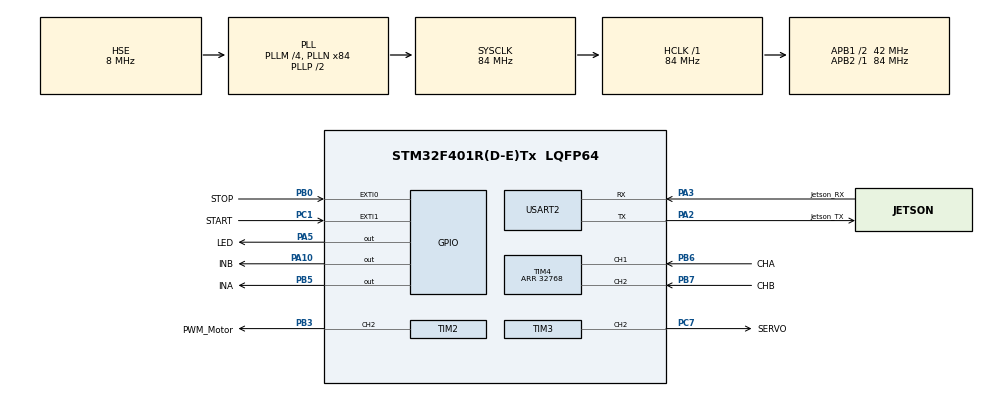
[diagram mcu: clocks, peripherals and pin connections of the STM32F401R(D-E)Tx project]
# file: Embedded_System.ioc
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Dma.Request0=USART2_RX
Dma.USART2_RX.0.Direction=DMA_PERIPH_TO_MEMORY
Dma.USART2_RX.0.FIFOMode=DMA_FIFOMODE_DISABLE
Dma.USART2_RX.0.Instance=DMA1_Stream5
Dma.USART2_RX.0.MemDataAlignment=DMA_MDATAALIGN_BYTE
Dma.USART2_RX.0.MemInc=DMA_MINC_ENABLE
Dma.USART2_RX.0.Mode=DMA_CIRCULAR
Dma.USART2_RX.0.PeriphDataAlignment=DMA_PDATAALIGN_BYTE
Dma.USART2_RX.0.PeriphInc=DMA_PINC_DISABLE
Dma.USART2_RX.0.Priority=DMA_PRIORITY_HIGH
Mcu.Family=STM32F4
Mcu.Name=STM32F401R(D-E)Tx
Mcu.Package=LQFP64
NVIC.DMA1_Stream5_IRQn=true\:0\:0\:false\:false\:true\:false\:true\:true
NVIC.EXTI0_IRQn=true\:0\:0\:false\:false\:true\:true\:true\:true
NVIC.EXTI1_IRQn=true\:0\:0\:false\:false\:true\:true\:true\:true
NVIC.PriorityGroup=NVIC_PRIORITYGROUP_4
NVIC.TIM1_UP_TIM10_IRQn=true\:0\:0\:false\:false\:true\:true\:true\:true
NVIC.TIM4_IRQn=true\:0\:0\:false\:false\:true\:true\:true\:true
NVIC.USART2_IRQn=true\:0\:0\:false\:false\:true\:true\:true\:true
PA10.GPIO_Label=INB
PA10.GPIO_Speed=GPIO_SPEED_FREQ_HIGH
PA10.Signal=GPIO_Output
PA2.GPIO_Label=Jetson_TX
PA2.Mode=Asynchronous
PA2.Signal=USART2_TX
PA3.GPIO_Label=Jetson_RX
PA3.GPIO_PuPd=GPIO_PULLUP
PA3.Mode=Asynchronous
PA3.Signal=USART2_RX
PA5.GPIO_Label=LED
PA5.Signal=GPIO_Output
PB0.GPIO_Label=STOP
PB0.GPIO_ModeDefaultEXTI=GPIO_MODE_IT_FALLING
PB0.GPIO_PuPd=GPIO_PULLUP
PB0.Signal=GPXTI0
PB3.GPIO_Label=PWM_Motor
PB3.GPIO_Speed=GPIO_SPEED_FREQ_VERY_HIGH
PB3.Signal=S_TIM2_CH2
PB5.GPIO_Label=INA
PB5.GPIO_Speed=GPIO_SPEED_FREQ_HIGH
PB5.Signal=GPIO_Output
PB6.GPIO_Label=CHA
PB6.GPIO_PuPd=GPIO_PULLUP
PB6.GPIO_Speed=GPIO_SPEED_FREQ_VERY_HIGH
PB6.Signal=S_TIM4_CH1
PB7.GPIO_Label=CHB
PB7.GPIO_PuPd=GPIO_PULLUP
PB7.GPIO_Speed=GPIO_SPEED_FREQ_VERY_HIGH
PB7.Signal=S_TIM4_CH2
PC1.GPIO_Label=START
PC1.GPIO_ModeDefaultEXTI=GPIO_MODE_IT_FALLING
PC1.GPIO_PuPd=GPIO_PULLUP
PC1.Signal=GPXTI1
PC7.GPIO_Label=SERVO
PC7.GPIO_PuPd=GPIO_PULLUP
PC7.GPIO_Speed=GPIO_SPEED_FREQ_MEDIUM
PC7.Signal=S_TIM3_CH2
PH0\ -\ OSC_IN.Mode=HSE-External-Oscillator
PH0\ -\ OSC_IN.Signal=RCC_OSC_IN
PH1\ -\ OSC_OUT.Mode=HSE-External-Oscillator
PH1\ -\ OSC_OUT.Signal=RCC_OSC_OUT
ProjectManager.HeapSize=0x200
ProjectManager.StackSize=0x400
ProjectManager.TargetToolchain=MDK-ARM V5.32
RCC.48MHZClocksFreq_Value=42000000
RCC.AHBFreq_Value=84000000
RCC.APB1CLKDivider=RCC_HCLK_DIV2
RCC.APB1Freq_Value=42000000
RCC.APB1TimFreq_Value=84000000
RCC.APB2Freq_Value=84000000
RCC.APB2TimFreq_Value=84000000
RCC.CortexFreq_Value=84000000
RCC.HCLKFreq_Value=84000000
RCC.HSE_VALUE=8000000
RCC.HSI_VALUE=16000000
RCC.LSE_VALUE=32768
RCC.PLLM=4
RCC.PLLN=84
RCC.PLLSourceVirtual=RCC_PLLSOURCE_HSE
RCC.SYSCLKFreq_VALUE=84000000
RCC.SYSCLKSource=RCC_SYSCLKSOURCE_PLLCLK
RCC.VCOOutputFreq_Value=168000000
SH.S_TIM2_CH2.0=TIM2_CH2,PWM Generation2 CH2
SH.S_TIM3_CH2.0=TIM3_CH2,PWM Generation2 CH2
SH.S_TIM4_CH1.0=TIM4_CH1,Encoder_Interface
SH.S_TIM4_CH2.0=TIM4_CH2,Encoder_Interface
TIM1.Period=1679
TIM1.Prescaler=999
TIM2.Channel-PWM\ Generation2\ CH2=TIM_CHANNEL_2
TIM2.Period=99
TIM2.Prescaler=83
TIM3.Channel-PWM\ Generation2\ CH2=TIM_CHANNEL_2
TIM3.Period=999
TIM3.Prescaler=839
TIM4.AutoReloadPreload=TIM_AUTORELOAD_PRELOAD_DISABLE
TIM4.ClockDivision=TIM_CLOCKDIVISION_DIV1
TIM4.EncoderMode=TIM_ENCODERMODE_TI12
TIM4.IC1Filter=7
TIM4.IC2Filter=7
TIM4.Period=32768
USART2.VirtualMode=VM_ASYNC
VP_TIM1_VS_ClockSourceINT.Mode=Internal
VP_TIM2_VS_ClockSourceINT.Mode=Internal
VP_TIM3_VS_ClockSourceINT.Mode=Internal
board=custom

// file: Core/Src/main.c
/* USER CODE BEGIN Header */
/**
  ******************************************************************************
  * @file           : main.c
  * @brief          : Main program body
  ******************************************************************************
  * @attention
  *
  * Copyright (c) 2023 STMicroelectronics.
  * All rights reserved.
  *
  * This software is licensed under terms that can be found in the LICENSE file
  * in the root directory of this software component.
  * If no LICENSE file comes with this software, it is provided AS-IS.
  *
  ******************************************************************************
  */
/* USER CODE END Header */
#include "main.h"
#include "dma.h"
#include "tim.h"
#include "usart.h"
#include "gpio.h"

/* USER CODE BEGIN Includes */
#include "stdio.h"
#include "stdbool.h"

/******* HARDWARE *******/
#include "VNH5019/vnh5019.h"

/******* SOFTWARE *******/
#include "FILTER/kalman.h"
#include "FUNCTIONS/math_functions.h"
#include "PIDAUTOTUNER/pidautotuner.h"
#include "PID/pid.h"
#include "AMT103_ENCODER/amt103_encoder.h"
#include "RS610WP_SERVO/rs610wp_servo.h"
#include "CONTROLLER/tesla.h"
/* USER CODE END Includes */

/* USER CODE BEGIN PD */
#define T_Sample 20

/* USER CODE END PD */

/* USER CODE BEGIN PM */
pid PID_Motor;
int32_t des_speed;
/* USER CODE END PM */

/* USER CODE BEGIN PV */
uint8_t rxdata[4] = {0, 0, 0, 0};
int16_t receive_speed;
int8_t receive_angle;
uint8_t flag_button=0;
/* USER CODE END PV */

void SystemClock_Config(void);
/* USER CODE BEGIN PFP */
extern void user_setup(int16_t target, int8_t min, int8_t max);
extern void user_loop();
extern float kp, ki, kd;
extern bool start;

__IO uint32_t Micros;

uint32_t micros(void)
{
	return Micros;
}

/* USER CODE END PFP */

int main(void)
{

  /* MCU Configuration--------------------------------------------------------*/

  /* Reset of all peripherals, Initializes the Flash interface and the Systick. */
  HAL_Init();

  /* Configure the system clock */
  SystemClock_Config();

  /* Initialize all configured peripherals */
  MX_GPIO_Init();
  MX_DMA_Init();
  MX_TIM1_Init();
  MX_TIM2_Init();
  MX_TIM3_Init();
  MX_TIM4_Init();
  MX_USART2_UART_Init();
  /* USER CODE BEGIN 2 */
	/************** Configure micros() function **************/
	SystemCoreClockUpdate();
	SysTick_Config(SystemCoreClock / 1000000);

	/************** TIMER **************/
	HAL_TIM_Base_Start_IT(&htim1);

	/************** VNH5019 **************/
	VNH5019_Init();

	/************** ENCODER **************/
	AMT103_Init();

	/************** SERVO **************/
	RS610WP_Init();

	/************** PID TUNING **************/
//	user_setup(200, 0, 40);
	kp = 0.105649225;
	ki = 0.0;
	kd = 0.18860482;
	start = 1;
//	HAL_GPIO_WritePin(LED_GPIO_Port, LED_Pin, GPIO_PIN_SET);

	/************** PID Controller **************/
	PID_Reset(&PID_Motor);
	PID_Init(&PID_Motor, T_Sample, kp, 0, kd, 0, 40); //0.46, 0.27, 0.2

	/************** COMMUNICATION **************/
	while (HAL_UARTEx_ReceiveToIdle_DMA(&huart2, rxdata, 4) != HAL_OK) HAL_UART_DMAStop(&huart2);
  __HAL_DMA_DISABLE_IT(&hdma_usart2_rx, DMA_IT_HT);

  /* USER CODE END 2 */

  /* Infinite loop */
  while (1)
  {

    /* USER CODE BEGIN 3 */
		HAL_Delay(10);

  }
  /* USER CODE END 3 */
}

void SystemClock_Config(void)
{
  RCC_OscInitTypeDef RCC_OscInitStruct = {0};
  RCC_ClkInitTypeDef RCC_ClkInitStruct = {0};

  /** Configure the main internal regulator output voltage
  */
  __HAL_RCC_PWR_CLK_ENABLE();
  __HAL_PWR_VOLTAGESCALING_CONFIG(PWR_REGULATOR_VOLTAGE_SCALE2);

  /** Initializes the RCC Oscillators according to the specified parameters
  * in the RCC_OscInitTypeDef structure.
  */
  RCC_OscInitStruct.OscillatorType = RCC_OSCILLATORTYPE_HSE;
  RCC_OscInitStruct.HSEState = RCC_HSE_ON;
  RCC_OscInitStruct.PLL.PLLState = RCC_PLL_ON;
  RCC_OscInitStruct.PLL.PLLSource = RCC_PLLSOURCE_HSE;
  RCC_OscInitStruct.PLL.PLLM = 4;
  RCC_OscInitStruct.PLL.PLLN = 84;
  RCC_OscInitStruct.PLL.PLLP = RCC_PLLP_DIV2;
  RCC_OscInitStruct.PLL.PLLQ = 4;
  if (HAL_RCC_OscConfig(&RCC_OscInitStruct) != HAL_OK)
  {
    Error_Handler();
  }

  /** Initializes the CPU, AHB and APB buses clocks
  */
  RCC_ClkInitStruct.ClockType = RCC_CLOCKTYPE_HCLK|RCC_CLOCKTYPE_SYSCLK
                              |RCC_CLOCKTYPE_PCLK1|RCC_CLOCKTYPE_PCLK2;
  RCC_ClkInitStruct.SYSCLKSource = RCC_SYSCLKSOURCE_PLLCLK;
  RCC_ClkInitStruct.AHBCLKDivider = RCC_SYSCLK_DIV1;
  RCC_ClkInitStruct.APB1CLKDivider = RCC_HCLK_DIV2;
  RCC_ClkInitStruct.APB2CLKDivider = RCC_HCLK_DIV1;

  if (HAL_RCC_ClockConfig(&RCC_ClkInitStruct, FLASH_LATENCY_2) != HAL_OK)
  {
    Error_Handler();
  }
}

/* USER CODE BEGIN 4 */
/*********************************************************/
void HAL_TIM_PeriodElapsedCallback(TIM_HandleTypeDef *htim) {
	if(htim->Instance == TIM4) OverFlow();

  if (htim->Instance == TIM1) {
		if (start == 1) {
			HAL_GPIO_TogglePin(LED_GPIO_Port, LED_Pin);

			/************* Encoder *************/
			des_speed = AMT103_GetPulse();

			/************* Processing *************/
			Run(receive_speed); //receive_speed
			PID_Process(&PID_Motor, Velocity.Output, des_speed);

			/************* PWM *************/
			if (flag_button == 0) {
				VNH5019_Run(0, 0);
				Control_Angle(0);
			}
			else {
				VNH5019_Run(PID_Motor.Output.Current, receive_speed);
				Control_Angle(receive_angle); //receive_angle
			}
//			RS610WP_Run(135); //Control_Angle(PID_IMU.Output.Current);
			// 0 do: 140
			// 25 do: 200 -> phai
			// -25 do: 80-> trai
			}
		}
}

/*********************************************************/
void HAL_UARTEx_RxEventCallback(UART_HandleTypeDef *huart, uint16_t Size) {
  if (huart->Instance == USART2) {
	  while (HAL_UARTEx_ReceiveToIdle_DMA(&huart2, rxdata, 4) != HAL_OK) HAL_UART_DMAStop(&huart2);
    __HAL_DMA_DISABLE_IT(&hdma_usart2_rx, DMA_IT_HT);
		if (Size == 4) {
			if (rxdata[3] == 25) {
				receive_speed = ((int16_t)rxdata[1]<<8)|rxdata[0];
				receive_angle = rxdata[2];
			}
			else {
				receive_speed = 0;
				receive_angle = 0;
			}

			/**** CHECK DATA ****/
//			if (receive_speed == 100 && receive_angle == 0) HAL_GPIO_WritePin(LED_GPIO_Port, LED_Pin, GPIO_PIN_SET);
//			else HAL_GPIO_WritePin(LED_GPIO_Port, LED_Pin, GPIO_PIN_RESET);
		}
  }
}

/*********************************************************/
void HAL_UART_ErrorCallback(UART_HandleTypeDef *huart) {
  if (huart->Instance == USART2) {
		while (HAL_UARTEx_ReceiveToIdle_DMA(&huart2, rxdata, 4) != HAL_OK) HAL_UART_DMAStop(&huart2);
    __HAL_DMA_DISABLE_IT(&hdma_usart2_rx, DMA_IT_HT);
	}
}

/*********************************************************/
void HAL_GPIO_EXTI_Callback(uint16_t GPIO_Pin)
{
 if (GPIO_Pin == STOP_Pin) flag_button=0;
 else if (GPIO_Pin == START_Pin) flag_button=1;
}
/* USER CODE END 4 */

void Error_Handler(void)
{
  __disable_irq();
  while (1)
  {
  }
}
